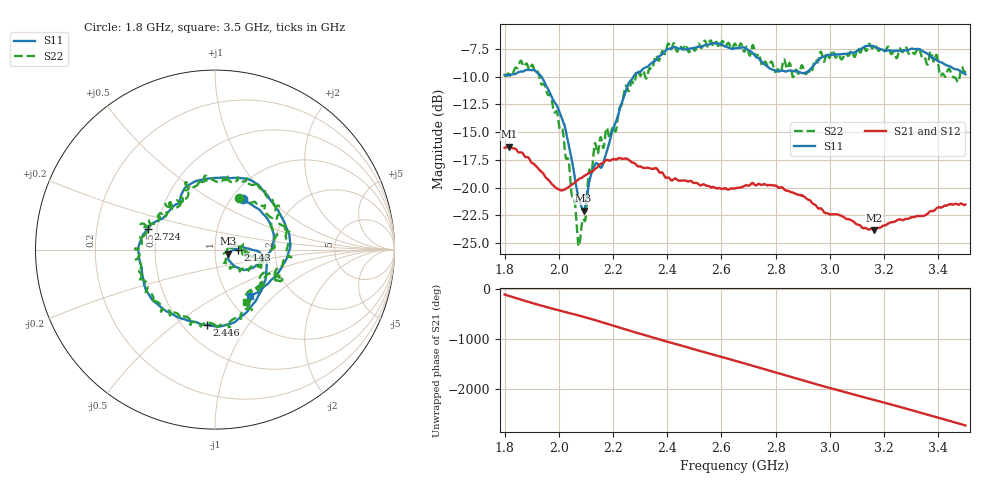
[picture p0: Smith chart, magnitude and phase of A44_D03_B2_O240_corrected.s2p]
! Created with skrf 1.9.0 (http://scikit-rf.org).
# Hz S RI R 50.0
!freq ReS11 ImS11 ReS21 ImS21 ReS12 ImS12 ReS22 ImS22
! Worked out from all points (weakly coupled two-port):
!   1601 points, 1.8 GHz to 3.5 GHz, reference 50 ohm
!   highest |S21| = -16.32 dB at 1.816 GHz (marker M1); lowest = -23.8 dB at 3.163 GHz (marker M2)
!   lowest |S11| = -22.1 dB at 2.091 GHz (marker M3), VSWR 1.17, Z = 58.1 - j2.75 ohm
!   |S11| at or under -10 dB: 1.935 GHz to 2.276 GHz (340.3 MHz wide, 16.2 % of centre)
!   |S22| runs from -25.3 to -6.8 dB; largest |S21 - S12| = 0.0026
!   S11 on the Smith chart (normalised r, x): 1.8 GHz: 1.13, +0.71; 2.143 GHz: 1.29, -0.00; 2.446 GHz: 0.65, -0.66; 2.724 GHz: 0.44, +0.12; 3.5 GHz: 1.26, -0.72
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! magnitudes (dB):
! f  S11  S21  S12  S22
! 1.8 GHz  -9.9  -16.4  -16.4  -9.9
! 1.816 GHz  -9.9  -16.3  -16.3  -9.8
! 1.903 GHz  -9.4  -17.8  -17.8  -9.0
! 1.968 GHz  -11.5  -19.5  -19.5  -11.6
! 2.015 GHz  -13.9  -20.2  -20.3  -14.9
! 2.072 GHz  -20.7  -19.3  -19.3  -25.1
! 2.084 GHz  -21.8  -19.1  -19.1  -23.5
! 2.091 GHz  -22.1  -19.0  -19.1  -22.8
! 2.113 GHz  -19.4  -18.7  -18.7  -18.4
! 2.143 GHz  -17.9  -18.1  -18.1  -17.0
! 2.209 GHz  -14.2  -17.5  -17.4  -15.0
! 2.259 GHz  -10.6  -17.5  -17.5  -11.3
! 2.367 GHz  -8.3  -18.5  -18.5  -8.5
! 2.446 GHz  -7.5  -19.4  -19.4  -7.2
! 2.65 GHz  -7.5  -20.1  -20.0  -7.0
! 2.724 GHz  -8.1  -19.8  -19.7  -8.0
! 2.803 GHz  -9.5  -19.9  -19.9  -9.5
! 2.934 GHz  -9.2  -21.4  -21.3  -9.6
! 3.163 GHz  -7.3  -23.8  -23.8  -7.2
! 3.217 GHz  -7.6  -23.2  -23.2  -7.4
! 3.468 GHz  -9.4  -21.5  -21.5  -10.3
! 3.5 GHz  -9.8  -21.5  -21.5  -9.5
